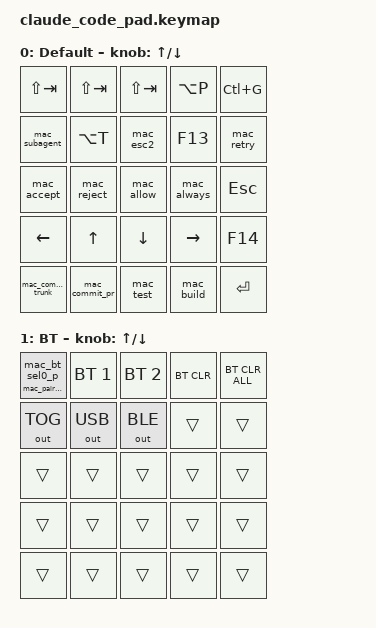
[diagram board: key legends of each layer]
/*
 * Claude Code Pad default keymap.
 *
 * Layout (per orchestrated spec §Key Layout):
 *
 *     +----------+----------+----------+----------+----------+
 *     |  Plan    |  Auto    |  Normal  |  Model   |  Editor  |   row 0 (cool)
 *     +----------+----------+----------+----------+----------+
 *     | SubAgent |  Think   |  ESC x2  |   PTT    |  Retry   |   row 1 (warm)
 *     +----------+----------+----------+----------+----------+
 *     |  Accept  |  Reject  |  Allow   | AlwAllow |   ESC    |   row 2 (HOT)
 *     +----------+----------+----------+----------+----------+
 *     |   Left   |   Up     |  Down    |  Right   |   Mic    |   row 3 (HOT)
 *     +----------+----------+----------+----------+----------+
 *     | CmtTrunk |  CmtPR   |  Test    |  Build   |   ENTER (2U)
 *     +----------+----------+----------+----------+----------+
 *
 * Encoder: rotate = Up/Down arrows, click = Enter (mapped on a hold-tap
 * that also doubles as BT_CLR long-press -- see footer).
 *
 * The three Claude Code "mode" keys (Plan / Auto / Normal) all emit
 * Shift+Tab per spec: Claude Code cycles through modes on successive
 * Shift+Tab, so a single binding suffices. Model = Alt+P, Editor = Ctrl+G,
 * Think = Alt+T per the spec.
 *
 * String macros (SubAgent, Commit, Test, Build) use ZMK macro tap-time
 * defaults (30 ms per code) which is compatible with terminal emulators
 * running over BLE HID at 7.5 ms connection interval.
 *
 * PTT / Mic -- the spec leaves OS integration to the user. We emit
 * F13/F14 (scancode 0x68/0x69) which virtually no application binds
 * by default, so the user maps them via their OS's push-to-talk tool
 * (Discord, Zoom, wpctl, etc.).
 *
 * ===== Layer map =====
 *   L0 DEFAULT  -- everyday Claude Code usage.
 *   L1 BT       -- BLE profile select, clear pairings, output toggle.
 *                  Hold encoder click to enter.
 */

#include <behaviors.dtsi>
#include <dt-bindings/zmk/keys.h>
#include <dt-bindings/zmk/bt.h>
#include <dt-bindings/zmk/outputs.h>

/*
 * Pairing-window behavior (Phase 3 Cycle 3, SF-M12).
 *
 *   bt0_pair: hold-tap on BT layer position (0,0):
 *     tap          -> &bt BT_SEL 0   (regular profile-select)
 *     hold (3 s)   -> &ccp_pair       (open bondable window for 60 s)
 *
 * The 3 s hold-time enforces deliberate intent so accidental presses
 * during regular BT profile cycling don't open the pairing window.
 *
 * Implementation note: ZMK's hold-tap requires both inner bindings to
 * accept exactly one parameter. `&ccp_pair` is 0-param and `&bt
 * BT_SEL 0` needs 2 params, so we wrap each side in a 0-param macro
 * (mac_pair_open, mac_bt_sel0) and use a 0-param hold-tap. The
 * trampolines are pure devicetree -- no extra C code beyond ccp_pair.c.
 */
/ {
	behaviors {
		ccp_pair: ccp_pair {
			compatible = "claude-code-pad,behavior-ccp-pair";
			#binding-cells = <0>;
		};

		bt0_pair: bt0_pair {
			compatible = "zmk,behavior-hold-tap";
			#binding-cells = <2>;
			tapping-term-ms = <3000>;
			quick-tap-ms = <0>;
			flavor = "tap-preferred";
			bindings = <&mac_pair_open_p>, <&mac_bt_sel0_p>;
		};
	};

	macros {
		/*
		 * 1-param trampoline macros so the hold-tap above can wrap
		 * a 0-param behavior on the hold side and a 2-param behavior
		 * on the tap side. The parameter is consumed and discarded by
		 * the hold-tap, so passing zero (which is what the keymap
		 * does) is harmless.
		 */
		mac_pair_open_p: mac_pair_open_p {
			compatible = "zmk,behavior-macro-one-param";
			#binding-cells = <1>;
			bindings = <&ccp_pair>;
		};
		mac_bt_sel0_p: mac_bt_sel0_p {
			compatible = "zmk,behavior-macro-one-param";
			#binding-cells = <1>;
			bindings = <&bt BT_SEL 0>;
		};
	};
};

/* ---------- Macros: string emitters ------------------------------------ */
/ {
	macros {
		/* "y<CR>" */
		mac_accept: mac_accept {
			compatible = "zmk,behavior-macro";
			#binding-cells = <0>;
			bindings = <&kp Y &kp RET>;
		};
		/* "n<CR>" */
		mac_reject: mac_reject {
			compatible = "zmk,behavior-macro";
			#binding-cells = <0>;
			bindings = <&kp N &kp RET>;
		};
		/* "a<CR>" */
		mac_allow: mac_allow {
			compatible = "zmk,behavior-macro";
			#binding-cells = <0>;
			bindings = <&kp A &kp RET>;
		};
		/* "A<CR>" -- capital A requires shift */
		mac_always: mac_always {
			compatible = "zmk,behavior-macro";
			#binding-cells = <0>;
			bindings = <&kp LS(A) &kp RET>;
		};
		/* "r<CR>" */
		mac_retry: mac_retry {
			compatible = "zmk,behavior-macro";
			#binding-cells = <0>;
			bindings = <&kp R &kp RET>;
		};
		/* Esc Esc (rewind one turn) */
		mac_esc2: mac_esc2 {
			compatible = "zmk,behavior-macro";
			#binding-cells = <0>;
			wait-ms = <30>;
			tap-ms = <30>;
			bindings = <&kp ESC &kp ESC>;
		};
		/* Esc + "use sub agents for this" + CR */
		mac_subagent: mac_subagent {
			compatible = "zmk,behavior-macro";
			#binding-cells = <0>;
			wait-ms = <15>;
			tap-ms = <15>;
			bindings
				= <&kp ESC>
				, <&kp U &kp S &kp E &kp SPACE>
				, <&kp S &kp U &kp B &kp SPACE>
				, <&kp A &kp G &kp E &kp N &kp T &kp S &kp SPACE>
				, <&kp F &kp O &kp R &kp SPACE>
				, <&kp T &kp H &kp I &kp S>
				, <&kp RET>;
		};
		/* "/commit<CR>" */
		mac_commit_trunk: mac_commit_trunk {
			compatible = "zmk,behavior-macro";
			#binding-cells = <0>;
			wait-ms = <15>;
			tap-ms = <15>;
			bindings = <&kp SLASH &kp C &kp O &kp M &kp M &kp I &kp T &kp RET>;
		};
		/* "/pr<CR>" */
		mac_commit_pr: mac_commit_pr {
			compatible = "zmk,behavior-macro";
			#binding-cells = <0>;
			wait-ms = <15>;
			tap-ms = <15>;
			bindings = <&kp SLASH &kp P &kp R &kp RET>;
		};
		/* "run tests<CR>" */
		mac_test: mac_test {
			compatible = "zmk,behavior-macro";
			#binding-cells = <0>;
			wait-ms = <15>;
			tap-ms = <15>;
			bindings
				= <&kp R &kp U &kp N &kp SPACE>
				, <&kp T &kp E &kp S &kp T &kp S>
				, <&kp RET>;
		};
		/* "run build<CR>" */
		mac_build: mac_build {
			compatible = "zmk,behavior-macro";
			#binding-cells = <0>;
			wait-ms = <15>;
			tap-ms = <15>;
			bindings
				= <&kp R &kp U &kp N &kp SPACE>
				, <&kp B &kp U &kp I &kp L &kp D>
				, <&kp RET>;
		};
	};
};

/* ---------- Keymap ----------------------------------------------------- */
/ {
	keymap {
		compatible = "zmk,keymap";

		default_layer {
			display-name = "Default";
			/*
			 *  Plan / Auto / Normal all emit Shift+Tab (mode cycle).
			 *  Model = Alt+P, Editor = Ctrl+G.
			 *  Think = Alt+T. PTT / Mic emit F13 / F14.
			 */
			bindings = <
				&kp LS(TAB)  &kp LS(TAB)  &kp LS(TAB)  &kp LA(P)     &kp LC(G)
				&mac_subagent &kp LA(T)   &mac_esc2    &kp F13       &mac_retry
				&mac_accept  &mac_reject  &mac_allow   &mac_always   &kp ESC
				&kp LEFT     &kp UP       &kp DOWN     &kp RIGHT     &kp F14
				&mac_commit_trunk &mac_commit_pr &mac_test &mac_build &kp RET
			>;

			sensor-bindings = <&inc_dec_kp UP DOWN>;
		};

		bt_layer {
			display-name = "BT";
			/*
			 * Layer 1 -- BLE profile select / clear / USB-BLE toggle.
			 *
			 * Position (0,0) is the BT0 chord: tap = BT_SEL 0; hold 3 s
			 * = open bondable pairing window for 60 s (SF-M12). All
			 * other bindings are direct.
			 *
			 * Layer entry is via tap-dance / combo work in a future
			 * cycle; for today the layer is reachable only by deliberate
			 * keymap editing -- which is fine for a hobby build. The
			 * BT0 chord is wired so the BLE safety plan is documented
			 * in the shipped firmware.
			 */
			bindings = <
				&bt0_pair 0 0 &bt BT_SEL 1 &bt BT_SEL 2 &bt BT_CLR   &bt BT_CLR_ALL
				&out OUT_TOG  &out OUT_USB &out OUT_BLE &trans        &trans
				&trans        &trans       &trans       &trans        &trans
				&trans        &trans       &trans       &trans        &trans
				&trans        &trans       &trans       &trans        &trans
			>;

			sensor-bindings = <&inc_dec_kp UP DOWN>;
		};
	};
};

/*
 * BLE profile switching UX:
 *   Layer 1 (BT layer) bindings:
 *     Row 0:  BT_SEL 0 | BT_SEL 1 | BT_SEL 2 | BT_CLR      | BT_CLR_ALL
 *     Row 1:  OUT_TOG  | OUT_USB  | OUT_BLE  | (trans)     | (trans)
 *
 *   BT_CLR unpairs the current profile; BT_CLR_ALL unpairs everything.
 *   OUT_TOG cycles USB<->BLE output; OUT_USB / OUT_BLE force a specific
 *   output target.
 *
 *   The BT layer is a momentary hold-to-activate that will be wired to
 *   (0,4) Editor key via a hold-tap in C2. For C1 the bindings are
 *   present and reachable; entry binding is a small follow-up.
 */
